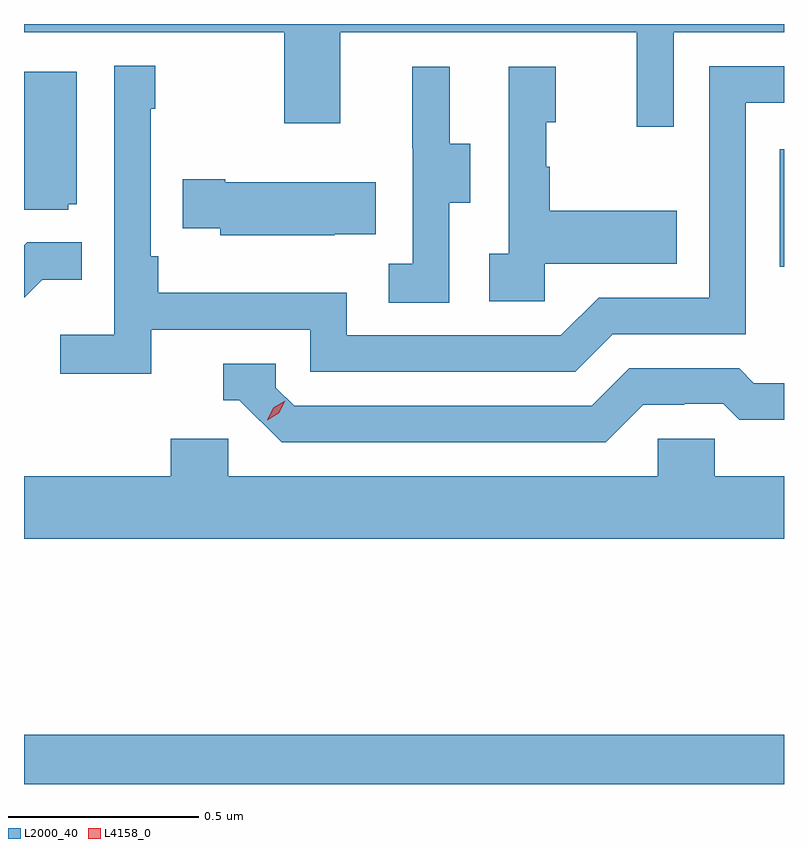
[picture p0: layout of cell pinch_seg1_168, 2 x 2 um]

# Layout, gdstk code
import gdstk
lib = gdstk.Library(unit=1e-6, precision=1e-09)
def R(c, l, rs):  # rectangles x0, y0, x1, y1
    for r in rs: c.add(gdstk.rectangle(r[:2], r[2:], *l))
def P(c, l, *ps):  # polygons
    for p in ps: c.add(gdstk.Polygon(p, *l))
L2000_40 = (2000, 40)
L4158_0 = (4158, 0)

pinch_seg1_168 = lib.new_cell('pinch_seg1_168')
R(pinch_seg1_168, L2000_40, [(1084.887,553.75,1086.887,553.88), (1086.876,555.111,1086.887,555.42)])
P(pinch_seg1_168, L2000_40, [(1086.597,555.728),(1086.887,555.728),(1086.887,555.75),(1084.887,555.75),(1084.887,555.728),(1085.572,555.728),(1085.572,555.489),(1085.719,555.489),(1085.719,555.728),(1086.5,555.728),(1086.5,555.48),(1086.597,555.48)],
  [(1085.222,554.946),(1085.64,554.946),(1085.64,554.835),(1086.337,554.835),(1086.436,554.934),(1086.786,554.934),(1086.786,555.543),(1086.887,555.543),(1086.887,555.639),(1086.69,555.639),(1086.69,555.03),(1086.399,555.03),(1086.3,554.931),(1085.736,554.931),(1085.736,555.043),(1085.24,555.043),(1085.24,555.139),(1085.22,555.139),(1085.22,555.527),(1085.233,555.527),(1085.233,555.64),(1085.124,555.64),(1085.124,554.932),(1084.983,554.932),(1084.983,554.83),(1085.222,554.83)],
  [(1086.258,555.119),(1086.605,555.119),(1086.605,555.259),(1086.271,555.259),(1086.271,555.374),(1086.261,555.374),(1086.261,555.492),(1086.286,555.492),(1086.286,555.637),(1086.162,555.637),(1086.162,555.146),(1086.111,555.146),(1086.111,555.021),(1086.258,555.021)],
  [(1086.006,555.28),(1086.061,555.28),(1086.061,555.435),(1086.007,555.435),(1086.007,555.637),(1085.909,555.637),(1085.909,555.423),(1085.91,555.423),(1085.91,555.119),(1085.847,555.119),(1085.847,555.016),(1086.006,555.016)],
  [(1085.004,555.276),(1085.026,555.276),(1085.026,555.625),(1084.887,555.625),(1084.887,555.261),(1085.004,555.261)],
  [(1085.705,555.197),(1085.813,555.197),(1085.813,555.334),(1085.416,555.334),(1085.416,555.342),(1085.305,555.342),(1085.305,555.212),(1085.403,555.212),(1085.403,555.194),(1085.705,555.194)],
  [(1084.935,555.077),(1085.039,555.077),(1085.039,555.176),(1084.895,555.176),(1084.887,555.168),(1084.887,555.029)],
  [(1086.517,554.748),(1086.624,554.748),(1086.624,554.751),(1086.727,554.751),(1086.769,554.709),(1086.887,554.709),(1086.887,554.805),(1086.808,554.805),(1086.769,554.844),(1086.48,554.844),(1086.381,554.745),(1085.598,554.745),(1085.55,554.793),(1085.55,554.856),(1085.411,554.856),(1085.411,554.76),(1085.454,554.76),(1085.565,554.649),(1086.418,554.649)],
  [(1086.887,554.56),(1086.705,554.56),(1086.705,554.658),(1086.555,554.658),(1086.555,554.56),(1085.424,554.56),(1085.424,554.658),(1085.273,554.658),(1085.273,554.56),(1084.887,554.56),(1084.887,554.396),(1086.887,554.396)])
P(pinch_seg1_168, L4158_0, [(1085.527,554.707),(1085.527,554.707),(1085.543,554.74),(1085.574,554.759),(1085.574,554.759),(1085.574,554.759),(1085.558,554.726),(1085.527,554.707)])

lib.write_gds('pinch_seg1_168.gds')
